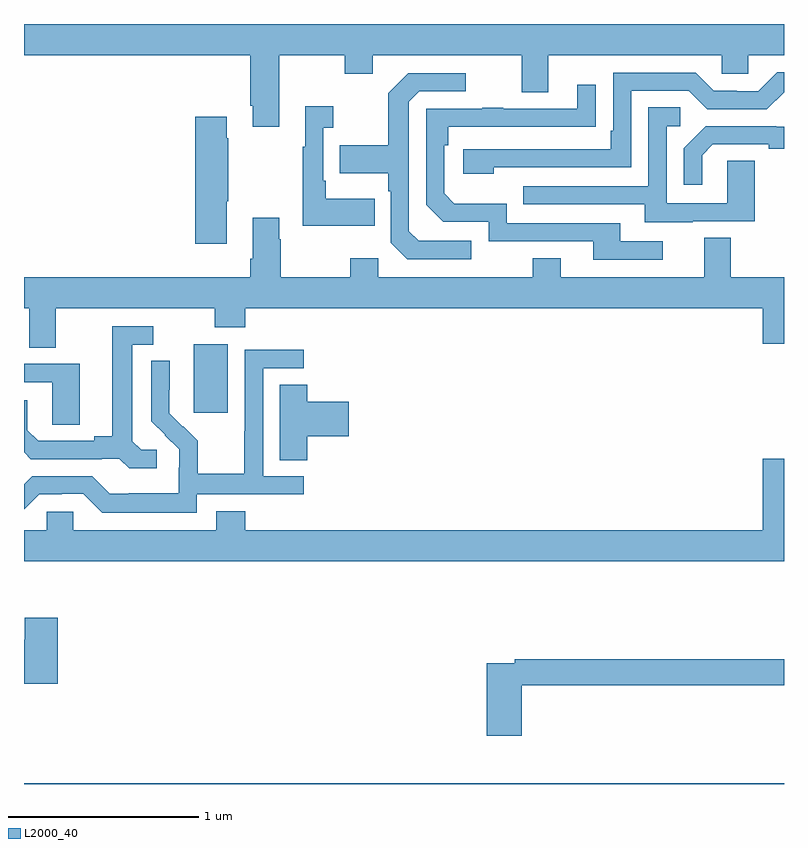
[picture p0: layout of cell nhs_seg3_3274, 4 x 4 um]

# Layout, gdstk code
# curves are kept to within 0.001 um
import gdstk
lib = gdstk.Library(unit=1e-6, precision=1e-09)
def R(c, l, rs):  # rectangles x0, y0, x1, y1
    for r in rs: c.add(gdstk.rectangle(r[:2], r[2:], *l))
def P(c, l, *ps):  # polygons
    for p in ps: c.add(gdstk.Polygon(p, *l))
L2000_40 = (2000, 40)

nhs_seg3_3274 = lib.new_cell('nhs_seg3_3274')
R(nhs_seg3_3274, L2000_40, [(281,710.4,285,710.404), (281.894,712.353,282.073,712.714)])
P(nhs_seg3_3274, L2000_40, [(282.343,714.236),(282.688,714.236),(282.688,714.137),(282.835,714.137),(282.835,714.236),(283.619,714.236),(283.619,714.042),(283.759,714.042),(283.759,714.236),(284.673,714.236),(284.673,714.138),(284.811,714.138),(284.811,714.236),(285,714.236),(285,714.4),(281,714.4),(281,714.236),(282.191,714.236),(282.191,713.971),(282.203,713.971),(282.203,713.859),(282.343,713.859)],
  [(283.472,713.646),(284.196,713.646),(284.196,714.048),(284.499,714.048),(284.595,713.952),(284.91,713.952),(285,714.042),(285,714.145),(284.965,714.145),(284.865,714.045),(284.75,714.045),(284.75,714.048),(284.631,714.048),(284.535,714.144),(284.1,714.144),(284.1,713.839),(284.087,713.839),(284.087,713.742),(283.311,713.742),(283.311,713.612),(283.472,713.612)],
  [(283.354,713.259),(283.077,713.259),(283.026,713.31),(283.026,713.991),(283.08,714.045),(283.324,714.045),(283.324,714.141),(283.023,714.141),(282.918,714.035),(282.918,713.763),(282.661,713.763),(282.661,713.615),(282.918,713.615),(282.918,713.519),(282.93,713.519),(282.93,713.25),(283.017,713.163),(283.354,713.163)],
  [(284.362,713.256),(284.137,713.256),(284.137,713.352),(283.542,713.352),(283.542,713.455),(283.265,713.455),(283.212,713.508),(283.212,713.762),(283.232,713.762),(283.232,713.859),(284.009,713.86),(284.009,714.079),(283.913,714.079),(283.913,713.955),(283.523,713.955),(283.523,713.96),(283.411,713.96),(283.411,713.955),(283.116,713.955),(283.116,713.448),(283.206,713.358),(283.446,713.358),(283.446,713.256),(283.997,713.256),(283.997,713.16),(284.362,713.16)],
  [(282.845,713.479),(282.589,713.479),(282.589,713.575),(282.576,713.575),(282.576,713.855),(282.628,713.855),(282.628,713.968),(282.479,713.968),(282.479,713.755),(282.468,713.755),(282.468,713.339),(282.845,713.339)],
  [(284.521,713.361),(284.845,713.361),(284.845,713.681),(284.7,713.681),(284.7,713.457),(284.382,713.457),(284.382,713.862),(284.455,713.862),(284.455,713.963),(284.286,713.963),(284.286,713.547),(283.627,713.547),(283.627,713.451),(284.267,713.451),(284.267,713.357),(284.521,713.357)],
  [(282.067,713.467),(282.075,713.467),(282.075,713.798),(282.067,713.798),(282.067,713.911),(281.9,713.911),(281.9,713.244),(282.067,713.244)],
  [(284.569,713.709),(284.626,713.766),(284.921,713.766),(284.921,713.744),(285,713.744),(285,713.859),(284.96,713.859),(284.96,713.862),(284.588,713.862),(284.472,713.746),(284.472,713.553),(284.569,713.553)],
  [(281.167,712.904),(282.004,712.904),(282.004,712.805),(282.164,712.805),(282.164,712.904),(284.888,712.904),(284.888,712.716),(285,712.716),(285,713.068),(284.719,713.068),(284.719,713.276),(284.579,713.276),(284.579,713.068),(283.825,713.068),(283.825,713.167),(283.678,713.167),(283.678,713.068),(282.864,713.068),(282.864,713.167),(282.718,713.167),(282.718,713.068),(282.351,713.068),(282.351,713.267),(282.343,713.267),(282.343,713.38),(282.203,713.38),(282.203,713.164),(282.191,713.164),(282.191,713.068),(281,713.068),(281,712.904),(281.027,712.904),(281.027,712.696),(281.167,712.696)],
  [(281.698,712.158),(281.616,712.158),(281.569,712.205),(281.569,712.713),(281.68,712.713),(281.68,712.809),(281.465,712.809),(281.465,712.229),(281.369,712.229),(281.369,712.206),(281.074,712.206),(281.017,712.263),(281.017,712.42),(281,712.42),(281,712.146),(281.036,712.11),(281.408,712.11),(281.408,712.113),(281.502,712.113),(281.554,712.061),(281.698,712.061)],
  [(281.91,711.924),(282.472,711.924),(282.472,712.02),(282.258,712.02),(282.258,712.587),(282.472,712.587),(282.472,712.686),(282.162,712.686),(282.162,712.256),(282.16,712.256),(282.16,712.033),(281.915,712.033),(281.915,712.207),(281.838,712.284),(281.835,712.281),(281.765,712.352),(281.766,712.628),(281.67,712.628),(281.67,712.31),(281.816,712.162),(281.816,712.065),(281.814,712.065),(281.814,711.931),(281.551,711.931),(281.551,711.927),(281.451,711.927),(281.358,712.02),(281.043,712.02),(281,711.977),(281,711.845),(281.079,711.924),(281.198,711.924),(281.198,711.927),(281.313,711.927),(281.413,711.827),(281.91,711.827)],
  [(281.293,712.611),(281,712.611),(281,712.515),(281.148,712.515),(281.148,712.291),(281.293,712.291)],
  [(282.491,712.229),(282.709,712.229),(282.709,712.412),(282.491,712.412),(282.491,712.502),(282.347,712.502),(282.347,712.105),(282.491,712.105)],
  [(285,712.111),(284.888,712.111),(284.888,711.736),(282.164,711.736),(282.164,711.835),(282.011,711.835),(282.011,711.736),(281.259,711.736),(281.259,711.834),(281.121,711.834),(281.121,711.736),(281,711.736),(281,711.572),(285,711.572)],
  [(281.177,711.276),(281.003,711.276),(281.003,711.16),(281,711.16),(281,710.927),(281.177,710.927)],
  [(283.619,710.92),(285,710.92),(285,711.056),(283.582,711.056),(283.582,711.036),(283.436,711.036),(283.436,710.655),(283.619,710.655)])

lib.write_gds('nhs_seg3_3274.gds')
